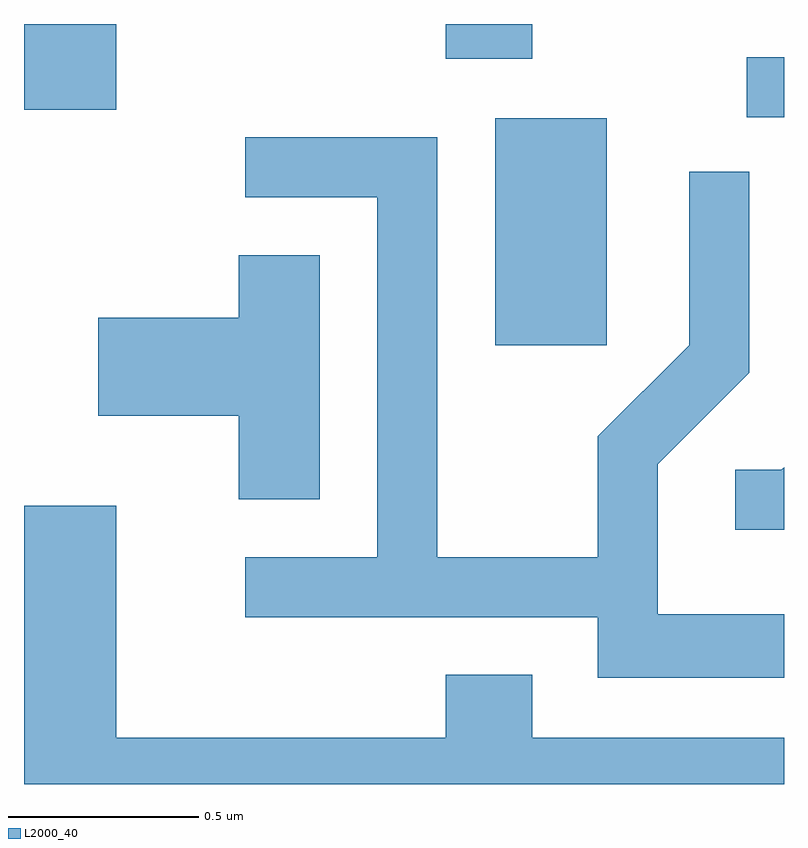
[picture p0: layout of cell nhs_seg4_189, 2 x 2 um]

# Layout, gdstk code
import gdstk
lib = gdstk.Library(unit=1e-6, precision=1e-09)
def R(c, l, rs):  # rectangles x0, y0, x1, y1
    for r in rs: c.add(gdstk.rectangle(r[:2], r[2:], *l))
def P(c, l, *ps):  # polygons
    for p in ps: c.add(gdstk.Polygon(p, *l))
L2000_40 = (2000, 40)

nhs_seg4_189 = lib.new_cell('nhs_seg4_189')
R(nhs_seg4_189, L2000_40, [(187.851,1307.136,188.144,1307.734), (188.513,1307.736,188.611,1307.894), (186.611,1307.756,186.854,1307.982), (187.721,1307.891,187.949,1307.982)])
P(nhs_seg4_189, L2000_40, [(188.611,1306.429),(188.279,1306.429),(188.279,1306.824),(188.519,1307.064),(188.519,1307.593),(188.361,1307.593),(188.361,1307.137),(188.121,1306.897),(188.121,1306.579),(187.699,1306.579),(187.699,1307.684),(187.193,1307.684),(187.193,1307.526),(187.541,1307.526),(187.541,1306.579),(187.193,1306.579),(187.193,1306.421),(188.121,1306.421),(188.121,1306.261),(188.611,1306.261)],
  [(187.389,1307.374),(187.176,1307.374),(187.176,1307.209),(186.806,1307.209),(186.806,1306.951),(187.176,1306.951),(187.176,1306.731),(187.389,1306.731)],
  [(188.611,1306.816),(188.604,1306.809),(188.483,1306.809),(188.483,1306.651),(188.611,1306.651)],
  [(188.611,1306.104),(187.949,1306.104),(187.949,1306.269),(187.721,1306.269),(187.721,1306.104),(186.854,1306.104),(186.854,1306.714),(186.611,1306.714),(186.611,1305.982),(188.611,1305.982)])

lib.write_gds('nhs_seg4_189.gds')
